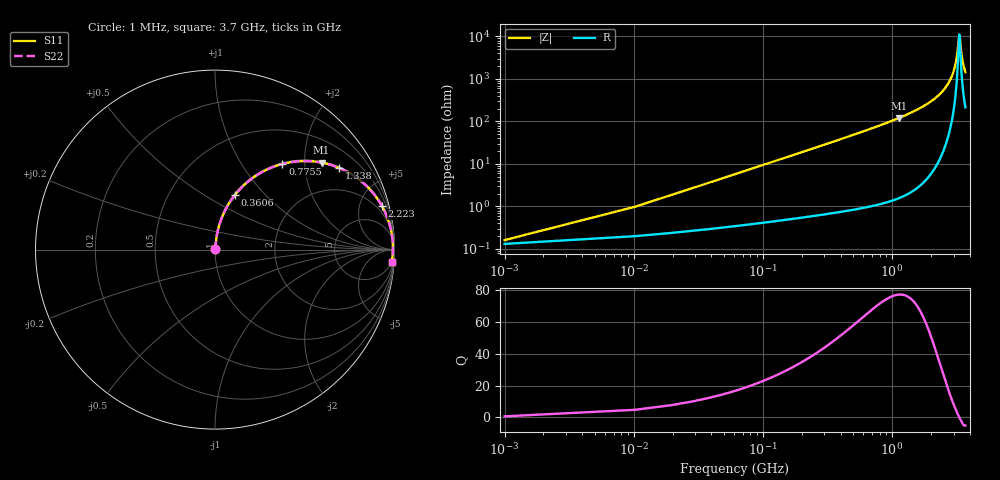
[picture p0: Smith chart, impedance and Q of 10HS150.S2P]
! Coilcraft 1008CS-150 Chip Inductor
! 02 July 2002
# MHZ S MA R 50
!Freq  MagS11  AngS11  MagS21  AngS21  MagS12  AngS12  MagS22  AngS22
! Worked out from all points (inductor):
!   403 points, 1 MHz to 3.7 GHz, reference 50 ohm
!   read as one part in series: L = 15 nH near 19.44 MHz
!   highest Q = 77.2 at 1.135 GHz (marker M1), where L = 17 nH
!   self-resonance near 3.32 GHz
!   S11 on the Smith chart (normalised r, x): 1 MHz: 1.00, +0.00; 360.6 MHz: 1.01, +0.69; 775.5 MHz: 1.02, +1.55; 1.338 GHz: 1.04, +3.01; 2.223 GHz: 1.19, +7.58; 3.7 GHz: 5, -28
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1  0.001613 35.6  0.9987 -0.1  0.9987 -0.1  0.001613 35.6
28.66  0.02706 82.8  0.997 -1.5  0.997 -1.5  0.02706 82.8
37.88  0.0357 83.3  0.9965 -2.0  0.9965 -2.0  0.0357 83.3
56.32  0.05295 83.4  0.9953 -3.0  0.9953 -3.0  0.05295 83.4
83.98  0.07874 82.7  0.9931 -4.5  0.9931 -4.5  0.07874 82.7
185.4  0.1718 78.4  0.98 -9.9  0.98 -9.9  0.1718 78.4
360.58  0.3232 70.0  0.9397 -18.9  0.9397 -18.9  0.3232 70.0
618.74  0.5136 58.2  0.8501 -30.9  0.8501 -30.9  0.5136 58.2
775.48  0.6075 51.8  0.7858 -37.4  0.7858 -37.4  0.6075 51.8
1135.06  0.7663 39.2  0.6327 -50.0  0.6327 -50.0  0.7663 39.2
1236.48  0.7992 36.2  0.5908 -53.0  0.5908 -53.0  0.7992 36.2
1337.9  0.8279 33.4  0.5501 -55.9  0.5501 -55.9  0.8279 33.4
1854.22  0.925 21.4  0.3645 -67.6  0.3645 -67.6  0.925 21.4
2223.02  0.961 14.7  0.2534 -73.9  0.2534 -73.9  0.961 14.7
2471.96  0.9757 10.8  0.1871 -77.2  0.1871 -77.2  0.9757 10.8
2840.76  0.9876 5.7  0.09953 -80.0  0.09953 -80.0  0.9876 5.7
3089.7  0.9908 2.6  0.04679 -77.3  0.04679 -77.3  0.9908 2.6
3191.12  0.9912 1.5  0.02699 -70.3  0.02699 -70.3  0.9912 1.5
3320.2  0.9911 0.0  0.0089 -3.4  0.0089 -3.4  0.9911 0.0
3347.86  0.991 -0.3  0.01014 27.4  0.01014 27.4  0.991 -0.3
3495.38  0.99 -1.8  0.03335 71.6  0.03335 71.6  0.99 -1.8
3700  0.9874 -3.9  0.06862 77.5  0.06862 77.5  0.9874 -3.9
